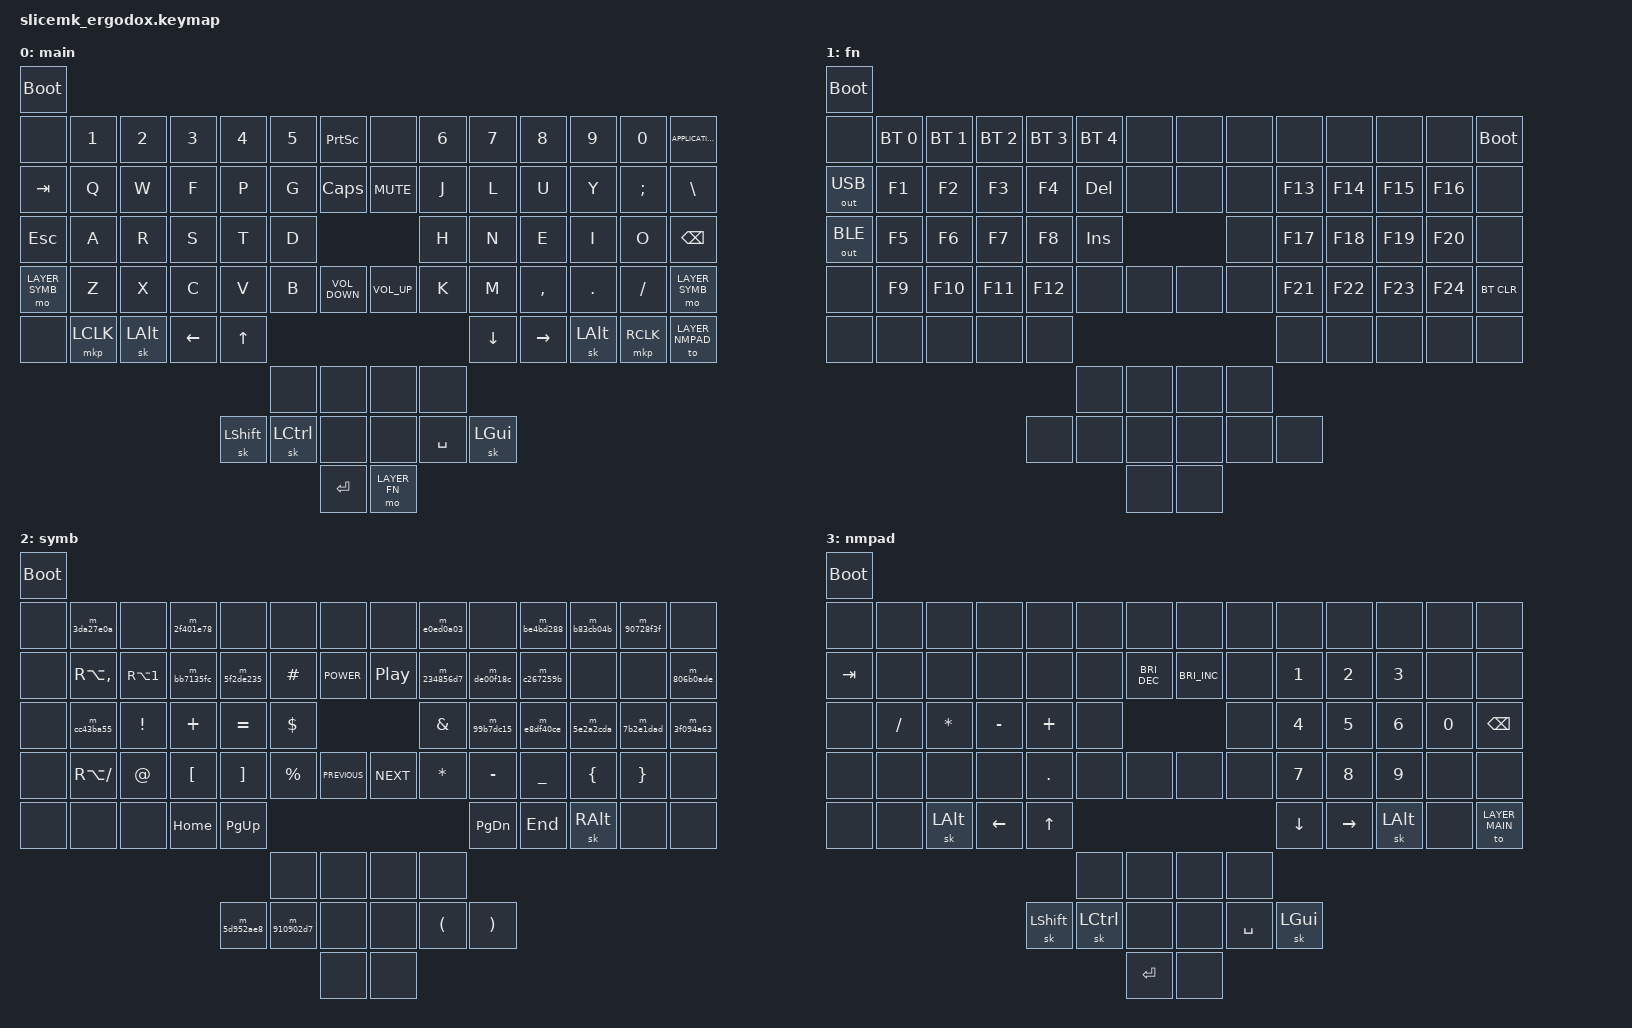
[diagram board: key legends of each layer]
#include <behaviors.dtsi>
#include <dt-bindings/zmk/bt.h>
#include <dt-bindings/zmk/keys.h>
#include <dt-bindings/zmk/outputs.h>
#include <dt-bindings/zmk/pointing.h>

#define LAYER_MAIN 0
#define LAYER_FN 1
#define LAYER_SYMB 2
#define LAYER_NMPAD 3

&sk {
	quick-release;
};

/ {
	keymap {
		compatible = "zmk,keymap";

		layer_0 {
			display-name = "main";
			bindings = <
				&bootloader
				&none          &kp NUMBER_1 &kp NUMBER_2 &kp NUMBER_3   &kp NUMBER_4   &kp NUMBER_5     &kp PRINTSCREEN   &none           &kp NUMBER_6 &kp NUMBER_7   &kp NUMBER_8    &kp NUMBER_9 &kp NUMBER_0  &kp K_APPLICATION
				&kp TAB        &kp Q        &kp W        &kp F          &kp P          &kp G            &kp CAPSLOCK      &kp C_MUTE      &kp J        &kp L          &kp U           &kp Y        &kp SEMICOLON &kp BACKSLASH
				&kp ESCAPE     &kp A        &kp R        &kp S          &kp T          &kp D                                              &kp H        &kp N          &kp E           &kp I        &kp O         &kp BACKSPACE
				&mo LAYER_SYMB &kp Z        &kp X        &kp C          &kp V          &kp B            &kp C_VOLUME_DOWN &kp C_VOLUME_UP &kp K        &kp M          &kp COMMA       &kp PERIOD   &kp SLASH     &mo LAYER_SYMB
				&none          &mkp LCLK    &sk LEFT_ALT &kp LEFT_ARROW &kp UP_ARROW                                                                   &kp DOWN_ARROW &kp RIGHT_ARROW &sk LEFT_ALT &mkp RCLK     &to LAYER_NMPAD
				                                                                       &none            &none             &none           &none
				                                                        &sk LEFT_SHIFT &sk LEFT_CONTROL &none             &none           &kp SPACE    &sk LEFT_GUI
				                                                                                        &kp RETURN        &mo LAYER_FN
			>;
		};

		layer_1 {
			display-name = "fn";
			bindings = <
				&bootloader
				&none        &bt BT_SEL 0 &bt BT_SEL 1 &bt BT_SEL 2 &bt BT_SEL 3 &bt BT_SEL 4 &none &none &none &none   &none   &none   &none   &bootloader
				&out OUT_USB &kp F1       &kp F2       &kp F3       &kp F4       &kp DELETE   &none &none &none &kp F13 &kp F14 &kp F15 &kp F16 &none
				&out OUT_BLE &kp F5       &kp F6       &kp F7       &kp F8       &kp INSERT               &none &kp F17 &kp F18 &kp F19 &kp F20 &none
				&none        &kp F9       &kp F10      &kp F11      &kp F12      &none        &none &none &none &kp F21 &kp F22 &kp F23 &kp F24 &bt BT_CLR
				&none        &none        &none        &none        &none                                       &none   &none   &none   &none   &none
				                                                                 &none        &none &none &none
				                                                    &none        &none        &none &none &none &none
				                                                                              &none &none
			>;
		};

		layer_2 {
			display-name = "symb";
			bindings = <
				&bootloader
				&none &m_3da27e0a   &none            &m_2f401e78      &none             &none       &none          &none            &m_e0ed0a03          &none                 &m_be4bd288    &m_b83cb04b    &m_90728f3f     &none
				&none &kp RA(COMMA) &kp RA(NUMBER_1) &m_bb7135fc      &m_5f2de235       &kp HASH    &kp C_POWER    &kp C_PLAY_PAUSE &m_234856d7          &m_de00f18c           &m_c267259b    &none          &none           &m_806b0ade
				&none &m_cc43ba55   &kp EXCLAMATION  &kp PLUS         &kp EQUAL         &kp DOLLAR                                  &kp AMPERSAND        &m_99b7dc15           &m_e8df40ce    &m_5e2a2cda    &m_7b2e1dad     &m_3f094a63
				&none &kp RA(SLASH) &kp AT_SIGN      &kp LEFT_BRACKET &kp RIGHT_BRACKET &kp PERCENT &kp C_PREVIOUS &kp C_NEXT       &kp ASTERISK         &kp MINUS             &kp UNDERSCORE &kp LEFT_BRACE &kp RIGHT_BRACE &none
				&none &none         &none            &kp HOME         &kp PAGE_UP                                                                        &kp PAGE_DOWN         &kp END        &sk RIGHT_ALT  &none           &none
				                                                                        &none       &none          &none            &none
				                                                      &m_5d952ae8       &m_910902d7 &none          &none            &kp LEFT_PARENTHESIS &kp RIGHT_PARENTHESIS
				                                                                                    &none          &none
			>;
		};

		layer_3 {
			display-name = "nmpad";
			bindings = <
				&bootloader
				&none   &none     &none        &none          &none          &none            &none                &none                &none     &none          &none           &none        &none        &none
				&kp TAB &none     &none        &none          &none          &none            &kp C_BRIGHTNESS_DEC &kp C_BRIGHTNESS_INC &none     &kp NUMBER_1   &kp NUMBER_2    &kp NUMBER_3 &none        &none
				&none   &kp SLASH &kp ASTERISK &kp MINUS      &kp PLUS       &none                                                      &none     &kp NUMBER_4   &kp NUMBER_5    &kp NUMBER_6 &kp NUMBER_0 &kp BACKSPACE
				&none   &none     &none        &none          &kp PERIOD     &none            &none                &none                &none     &kp NUMBER_7   &kp NUMBER_8    &kp NUMBER_9 &none        &none
				&none   &none     &sk LEFT_ALT &kp LEFT_ARROW &kp UP_ARROW                                                                        &kp DOWN_ARROW &kp RIGHT_ARROW &sk LEFT_ALT &none        &to LAYER_MAIN
				                                                             &none            &none                &none                &none
				                                              &sk LEFT_SHIFT &sk LEFT_CONTROL &none                &none                &kp SPACE &sk LEFT_GUI
				                                                                              &kp RETURN           &none
			>;
		};
	};

	ZMK_MACRO(m_806b0ade, wait-ms = <10>; tap-ms = <10>; bindings = <&macro_tap &kp GRAVE &kp GRAVE &kp GRAVE &kp SPACE>;)
	ZMK_MACRO(m_5e2a2cda, wait-ms = <10>; tap-ms = <10>; bindings = <&macro_tap &kp SINGLE_QUOTE &kp I>;)
	ZMK_MACRO(m_99b7dc15, wait-ms = <10>; tap-ms = <10>; bindings = <&macro_tap &kp TILDE &kp N>;)
	ZMK_MACRO(m_3da27e0a, wait-ms = <10>; tap-ms = <10>; bindings = <&macro_tap &kp RA(U) &kp NUMBER_1 &kp F &kp NUMBER_6 &kp NUMBER_0 &kp NUMBER_6 &kp SPACE>;)
	ZMK_MACRO(m_2f401e78, wait-ms = <10>; tap-ms = <10>; bindings = <&macro_tap &kp RA(U) &kp NUMBER_1 &kp F &kp NUMBER_6 &kp NUMBER_0 &kp NUMBER_2 &kp SPACE>;)
	ZMK_MACRO(m_be4bd288, wait-ms = <10>; tap-ms = <10>; bindings = <&macro_tap &kp RA(U) &kp NUMBER_1 &kp F &kp NUMBER_9 &kp NUMBER_3 &kp NUMBER_7 &kp SPACE &kp RA(U) &kp NUMBER_2 &kp NUMBER_0 &kp NUMBER_0 &kp D &kp SPACE &kp RA(U) &kp NUMBER_2 &kp NUMBER_6 &kp NUMBER_4 &kp NUMBER_2 &kp SPACE &kp RA(U) &kp F &kp E &kp NUMBER_0 &kp F &kp SPACE>;)
	ZMK_MACRO(m_b83cb04b, wait-ms = <10>; tap-ms = <10>; bindings = <&macro_tap &kp RA(U) &kp NUMBER_1 &kp F &kp NUMBER_6 &kp NUMBER_2 &kp NUMBER_1 &kp SPACE>;)
	ZMK_MACRO(m_90728f3f, wait-ms = <10>; tap-ms = <10>; bindings = <&macro_tap &kp RA(U) &kp NUMBER_1 &kp F &kp NUMBER_9 &kp NUMBER_2 &kp NUMBER_6 &kp SPACE &kp RA(U) &kp NUMBER_2 &kp NUMBER_0 &kp NUMBER_0 &kp D &kp SPACE &kp RA(U) &kp NUMBER_2 &kp NUMBER_6 &kp NUMBER_4 &kp NUMBER_2 &kp SPACE &kp RA(U) &kp F &kp E &kp NUMBER_0 &kp F &kp SPACE>;)
	ZMK_MACRO(m_7b2e1dad, wait-ms = <10>; tap-ms = <10>; bindings = <&macro_tap &kp SINGLE_QUOTE &kp O>;)
	ZMK_MACRO(m_de00f18c, wait-ms = <10>; tap-ms = <10>; bindings = <&macro_tap &kp DOUBLE_QUOTES &kp U>;)
	ZMK_MACRO(m_c267259b, wait-ms = <10>; tap-ms = <10>; bindings = <&macro_tap &kp SINGLE_QUOTE &kp U>;)
	ZMK_MACRO(m_e8df40ce, wait-ms = <10>; tap-ms = <10>; bindings = <&macro_tap &kp SINGLE_QUOTE &kp E>;)
	ZMK_MACRO(m_5d952ae8, wait-ms = <10>; tap-ms = <10>; bindings = <&macro_tap &kp SINGLE_QUOTE &kp SPACE>;)
	ZMK_MACRO(m_910902d7, wait-ms = <10>; tap-ms = <10>; bindings = <&macro_tap &kp DOUBLE_QUOTES &kp SPACE>;)
	ZMK_MACRO(m_e0ed0a03, wait-ms = <10>; tap-ms = <10>; bindings = <&macro_tap &kp RA(U) &kp NUMBER_1 &kp F &kp NUMBER_4 &kp NUMBER_4 &kp D &kp SPACE>;)
	ZMK_MACRO(m_bb7135fc, wait-ms = <10>; tap-ms = <10>; bindings = <&macro_tap &kp TILDE &kp SPACE>;)
	ZMK_MACRO(m_cc43ba55, wait-ms = <10>; tap-ms = <10>; bindings = <&macro_tap &kp SINGLE_QUOTE &kp A>;)
	ZMK_MACRO(m_3f094a63, wait-ms = <10>; tap-ms = <10>; bindings = <&macro_tap &kp ASTERISK &kp ASTERISK>;)
	ZMK_MACRO(m_5f2de235, wait-ms = <10>; tap-ms = <10>; bindings = <&macro_tap &kp GRAVE &kp SPACE>;)
	ZMK_MACRO(m_234856d7, wait-ms = <10>; tap-ms = <10>; bindings = <&macro_tap &kp CARET &kp SPACE>;)
};
